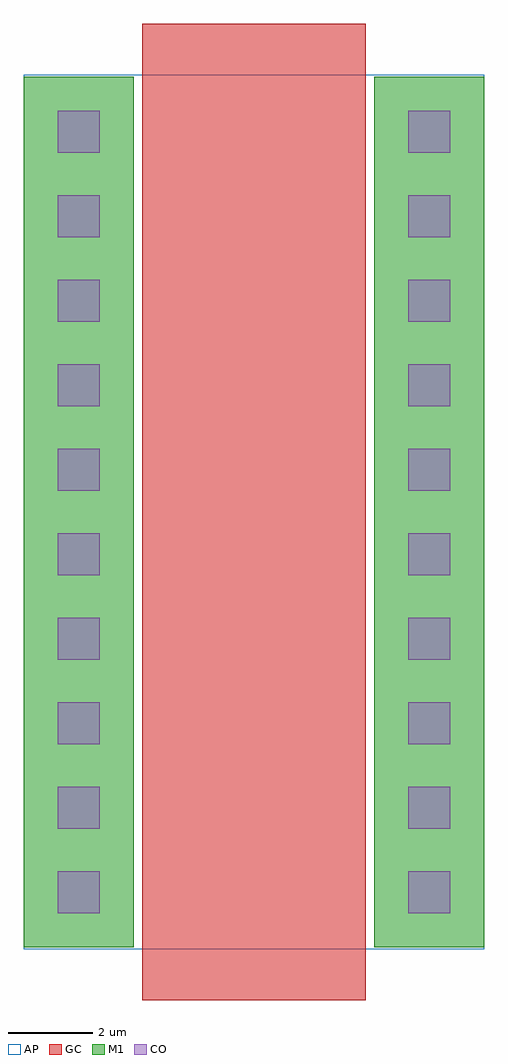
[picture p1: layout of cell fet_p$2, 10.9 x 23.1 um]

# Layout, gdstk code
import gdstk
lib = gdstk.Library(unit=1e-6, precision=1e-09)
def R(c, l, rs):  # rectangles x0, y0, x1, y1
    for r in rs: c.add(gdstk.rectangle(r[:2], r[2:], *l))
def A(c, l, x, y, w, h, nx, ny, dx, dy):  # array of equal rectangles
    R(c, l, [(x+i*dx, y+j*dy, x+i*dx+w, y+j*dy+h) for i in range(nx) for j in range(ny)])
AP = (3, 1)
GC = (8, 1)
CO = (11, 0)
M1 = (13, 0)

fet_p_2 = lib.new_cell('fet_p$2')
R(fet_p_2, AP, [(-5.45,-10.35,5.45,10.35)])
A(fet_p_2, CO, -4.65, -9.5, 1, 1, 1, 10, 0, 2)
A(fet_p_2, CO, 3.65, -9.5, 1, 1, 1, 10, 0, 2)
R(fet_p_2, M1, [(-5.45,-10.3,-2.85,10.3), (2.85,-10.3,5.45,10.3)])
fet_p_2.add(gdstk.FlexPath([(0,-11.55),(0,11.55)], 5.3, ends="flush", simple_path=True, layer=8, datatype=1))  # GC

lib.write_gds('fet_p_2.gds')
